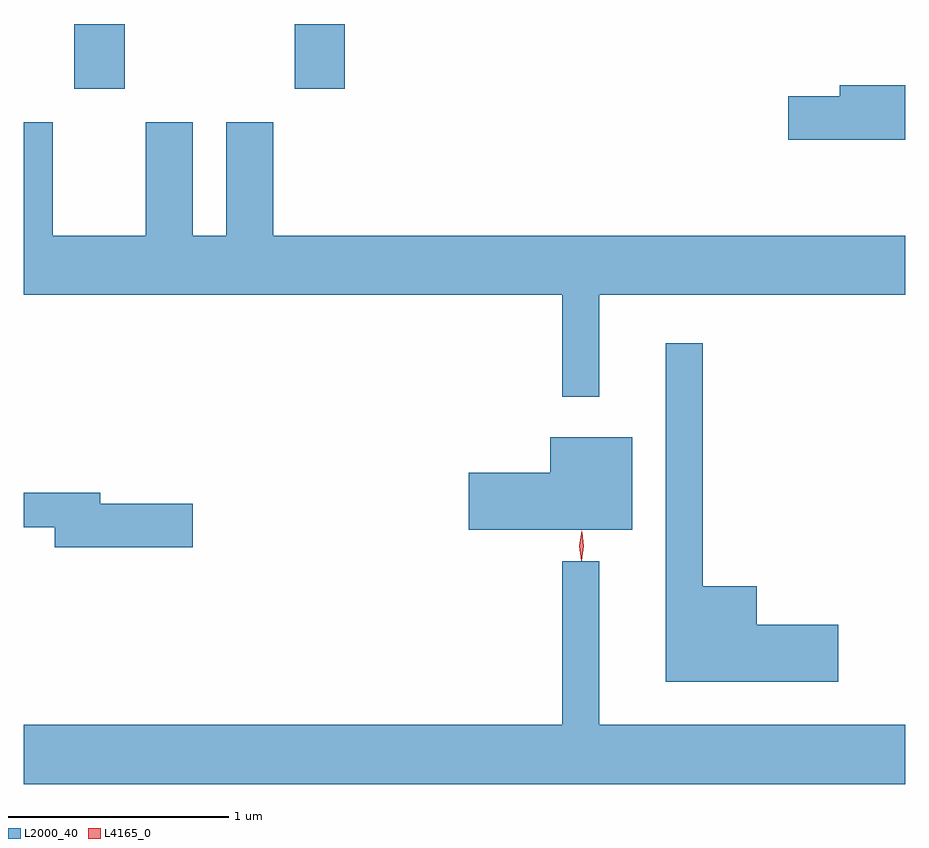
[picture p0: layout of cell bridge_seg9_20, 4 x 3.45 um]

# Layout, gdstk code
import gdstk
lib = gdstk.Library(unit=1e-6, precision=1e-09)
def R(c, l, rs):  # rectangles x0, y0, x1, y1
    for r in rs: c.add(gdstk.rectangle(r[:2], r[2:], *l))
def P(c, l, *ps):  # polygons
    for p in ps: c.add(gdstk.Polygon(p, *l))
L2000_40 = (2000, 40)
L4165_0 = (4165, 0)

bridge_seg9_20 = lib.new_cell('bridge_seg9_20')
R(bridge_seg9_20, L2000_40, [(1527.376,2068.231,1527.604,2068.526), (1528.376,2068.231,1528.604,2068.526)])
P(bridge_seg9_20, L2000_40, [(1531.147,2068.249),(1530.851,2068.249),(1530.851,2068.199),(1530.616,2068.199),(1530.616,2068.001),(1531.147,2068.001)],
  [(1529.759,2067.296),(1531.147,2067.296),(1531.147,2067.564),(1528.279,2067.564),(1528.279,2068.079),(1528.066,2068.079),(1528.066,2067.564),(1527.914,2067.564),(1527.914,2068.079),(1527.701,2068.079),(1527.701,2067.564),(1527.279,2067.564),(1527.279,2068.079),(1527.147,2068.079),(1527.147,2067.296),(1529.591,2067.296),(1529.591,2066.833),(1529.759,2066.833)],
  [(1530.844,2065.799),(1530.474,2065.799),(1530.474,2065.974),(1530.229,2065.974),(1530.229,2067.077),(1530.061,2067.077),(1530.061,2065.541),(1530.844,2065.541)],
  [(1529.909,2066.649),(1529.536,2066.649),(1529.536,2066.489),(1529.166,2066.489),(1529.166,2066.231),(1529.909,2066.231)],
  [(1527.914,2066.349),(1527.494,2066.349),(1527.494,2066.399),(1527.147,2066.399),(1527.147,2066.241),(1527.286,2066.241),(1527.286,2066.151),(1527.914,2066.151)],
  [(1531.147,2065.344),(1529.759,2065.344),(1529.759,2066.088),(1529.591,2066.088),(1529.591,2065.344),(1527.147,2065.344),(1527.147,2065.076),(1531.147,2065.076)])
P(bridge_seg9_20, L4165_0, [(1529.678,2066.09),(1529.678,2066.09),(1529.669,2066.158),(1529.679,2066.225),(1529.68,2066.226),(1529.68,2066.225),(1529.689,2066.158),(1529.679,2066.09)],
  [(1529.678,2066.093),(1529.678,2066.093),(1529.669,2066.156),(1529.68,2066.219),(1529.68,2066.22),(1529.681,2066.219),(1529.689,2066.156),(1529.679,2066.093)])

lib.write_gds('bridge_seg9_20.gds')
